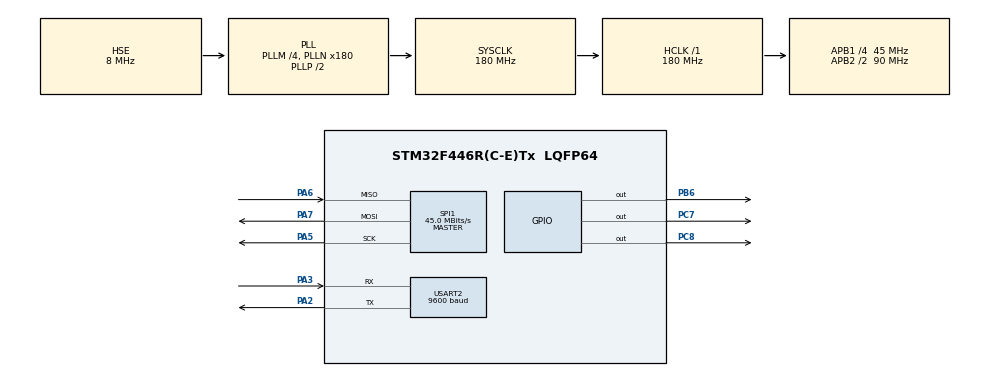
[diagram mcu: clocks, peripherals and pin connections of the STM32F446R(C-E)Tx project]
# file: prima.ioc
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Mcu.Family=STM32F4
Mcu.Name=STM32F446R(C-E)Tx
Mcu.Package=LQFP64
NVIC.PriorityGroup=NVIC_PRIORITYGROUP_4
PA2.Mode=Asynchronous
PA2.Signal=USART2_TX
PA3.Mode=Asynchronous
PA3.Signal=USART2_RX
PA5.Mode=Full_Duplex_Master
PA5.Signal=SPI1_SCK
PA6.Mode=Full_Duplex_Master
PA6.Signal=SPI1_MISO
PA7.Mode=Full_Duplex_Master
PA7.Signal=SPI1_MOSI
PB6.Signal=GPIO_Output
PC7.Signal=GPIO_Output
PC8.Signal=GPIO_Output
PH0-OSC_IN.Mode=HSE-External-Clock-Source
PH0-OSC_IN.Signal=RCC_OSC_IN
PH1-OSC_OUT.Mode=HSE-External-Clock-Source
PH1-OSC_OUT.Signal=RCC_OSC_OUT
ProjectManager.HeapSize=0x200
ProjectManager.StackSize=0x400
ProjectManager.TargetToolchain=STM32CubeIDE
RCC.AHBFreq_Value=180000000
RCC.APB1CLKDivider=RCC_HCLK_DIV4
RCC.APB1Freq_Value=45000000
RCC.APB1TimFreq_Value=90000000
RCC.APB2CLKDivider=RCC_HCLK_DIV2
RCC.APB2Freq_Value=90000000
RCC.APB2TimFreq_Value=180000000
RCC.CortexFreq_Value=180000000
RCC.HCLKFreq_Value=180000000
RCC.HSE_VALUE=8000000
RCC.PLLM=4
RCC.PLLN=180
RCC.PLLSourceVirtual=RCC_PLLSOURCE_HSE
RCC.SYSCLKFreq_VALUE=180000000
RCC.SYSCLKSource=RCC_SYSCLKSOURCE_PLLCLK
RCC.USBFreq_Value=180000000
RCC.VCOOutputFreq_Value=360000000
SPI1.CalculateBaudRate=45.0 MBits/s
SPI1.Direction=SPI_DIRECTION_2LINES
SPI1.Mode=SPI_MODE_MASTER
SPI1.VirtualType=VM_MASTER
USART2.BaudRate=9600
USART2.VirtualMode=VM_ASYNC
board=custom

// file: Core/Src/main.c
/* USER CODE BEGIN Header */
/**
  ******************************************************************************
  * @file           : main.c
  * @brief          : Main program body
  ******************************************************************************
  * @attention
  *
  * <h2><center>&copy; Copyright (c) 2021 STMicroelectronics.
  * All rights reserved.</center></h2>
  *
  * This software component is licensed by ST under BSD 3-Clause license,
  * the "License"; You may not use this file except in compliance with the
  * License. You may obtain a copy of the License at:
  *                        opensource.org/licenses/BSD-3-Clause
  *
  ******************************************************************************
  */
/* USER CODE END Header */
#include "main.h"
#include "spi.h"
#include "usart.h"
#include "gpio.h"

/* USER CODE BEGIN Includes */
#include "NRF24L01.h"
#include "string.h"
#include <stdio.h>
#ifdef __GNUC__
#define PUTCHAR_PROTOTYPE int __io_putchar(int ch)
#define GETCHAR_PROTOTYPE int __io_getchar(void)
#else
#define PUTCHAR_PROTOTYPE int fputc(int ch, FILE *f)
#define GETCHAR_PROTOTYPE int fgetc(FILE *f)
#endif
PUTCHAR_PROTOTYPE {
HAL_UART_Transmit(&huart2, (uint8_t*) &ch, 1, HAL_MAX_DELAY);
return ch;
}
GETCHAR_PROTOTYPE {
uint8_t ch = 0;
__HAL_UART_CLEAR_OREFLAG(&huart2);
HAL_UART_Receive(&huart2, (uint8_t*) &ch, 1, HAL_MAX_DELAY);
HAL_UART_Transmit(&huart2, (uint8_t*) &ch, 1, HAL_MAX_DELAY);
return ch;
}
/* USER CODE END Includes */

void SystemClock_Config(void);

/* USER CODE BEGIN 0 */

uint8_t RxAddress[] = {0x00,0xDD,0xCC,0xBB,0xAA};
uint8_t RxData[32];

uint8_t data[50];

//uint8_t TxAddress[] = {0xEE,0xDD,0xCC,0xBB,0xAA};
//uint8_t TxData[] = "Hello World\n";

/* USER CODE END 0 */

int main(void)
{

  /* USER CODE BEGIN 1 */
	setvbuf(stdin, NULL, _IONBF, 0);

  /* USER CODE END 1 */

  /* MCU Configuration--------------------------------------------------------*/

  /* Reset of all peripherals, Initializes the Flash interface and the Systick. */
  HAL_Init();

  /* Configure the system clock */
  SystemClock_Config();

  /* Initialize all configured peripherals */
  MX_GPIO_Init();
  MX_SPI1_Init();
  MX_USART2_UART_Init();
  /* USER CODE BEGIN 2 */

  NRF24_Init();

  NRF24_RxMode(RxAddress, 10);

//  NRF24_TxMode(TxAddress, 10);

  NRF24_ReadAll(data);
  /* USER CODE END 2 */

  /* Infinite loop */
  while (1)
  {

    /* USER CODE BEGIN 3 */

	  if (isDataAvailable(1) == 1)
	  {
		  NRF24_Receive(RxData);
		 // HAL_UART_Transmit(&huart2, RxData, strlen((char *)RxData), 1000);
	  printf("RXdata: %d\r\n",RxData[0]);

	  }
	//  printf("Volim burek\r\n");

//	  if (NRF24_Transmit(TxData) == 1)
//	  {
//		  HAL_GPIO_TogglePin(GPIOF, GPIO_PIN_9);
//	  }
//
//	  HAL_Delay(1000);

  }
  /* USER CODE END 3 */
}

void SystemClock_Config(void)
{
  RCC_OscInitTypeDef RCC_OscInitStruct = {0};
  RCC_ClkInitTypeDef RCC_ClkInitStruct = {0};

  /** Configure the main internal regulator output voltage
  */
  __HAL_RCC_PWR_CLK_ENABLE();
  __HAL_PWR_VOLTAGESCALING_CONFIG(PWR_REGULATOR_VOLTAGE_SCALE1);

  /** Initializes the RCC Oscillators according to the specified parameters
  * in the RCC_OscInitTypeDef structure.
  */
  RCC_OscInitStruct.OscillatorType = RCC_OSCILLATORTYPE_HSE;
  RCC_OscInitStruct.HSEState = RCC_HSE_BYPASS;
  RCC_OscInitStruct.PLL.PLLState = RCC_PLL_ON;
  RCC_OscInitStruct.PLL.PLLSource = RCC_PLLSOURCE_HSE;
  RCC_OscInitStruct.PLL.PLLM = 4;
  RCC_OscInitStruct.PLL.PLLN = 180;
  RCC_OscInitStruct.PLL.PLLP = RCC_PLLP_DIV2;
  RCC_OscInitStruct.PLL.PLLQ = 2;
  RCC_OscInitStruct.PLL.PLLR = 2;
  if (HAL_RCC_OscConfig(&RCC_OscInitStruct) != HAL_OK)
  {
    Error_Handler();
  }

  /** Activate the Over-Drive mode
  */
  if (HAL_PWREx_EnableOverDrive() != HAL_OK)
  {
    Error_Handler();
  }

  /** Initializes the CPU, AHB and APB buses clocks
  */
  RCC_ClkInitStruct.ClockType = RCC_CLOCKTYPE_HCLK|RCC_CLOCKTYPE_SYSCLK
                              |RCC_CLOCKTYPE_PCLK1|RCC_CLOCKTYPE_PCLK2;
  RCC_ClkInitStruct.SYSCLKSource = RCC_SYSCLKSOURCE_PLLCLK;
  RCC_ClkInitStruct.AHBCLKDivider = RCC_SYSCLK_DIV1;
  RCC_ClkInitStruct.APB1CLKDivider = RCC_HCLK_DIV4;
  RCC_ClkInitStruct.APB2CLKDivider = RCC_HCLK_DIV2;

  if (HAL_RCC_ClockConfig(&RCC_ClkInitStruct, FLASH_LATENCY_5) != HAL_OK)
  {
    Error_Handler();
  }
}

void Error_Handler(void)
{
  __disable_irq();
  while (1)
  {
  }
}
